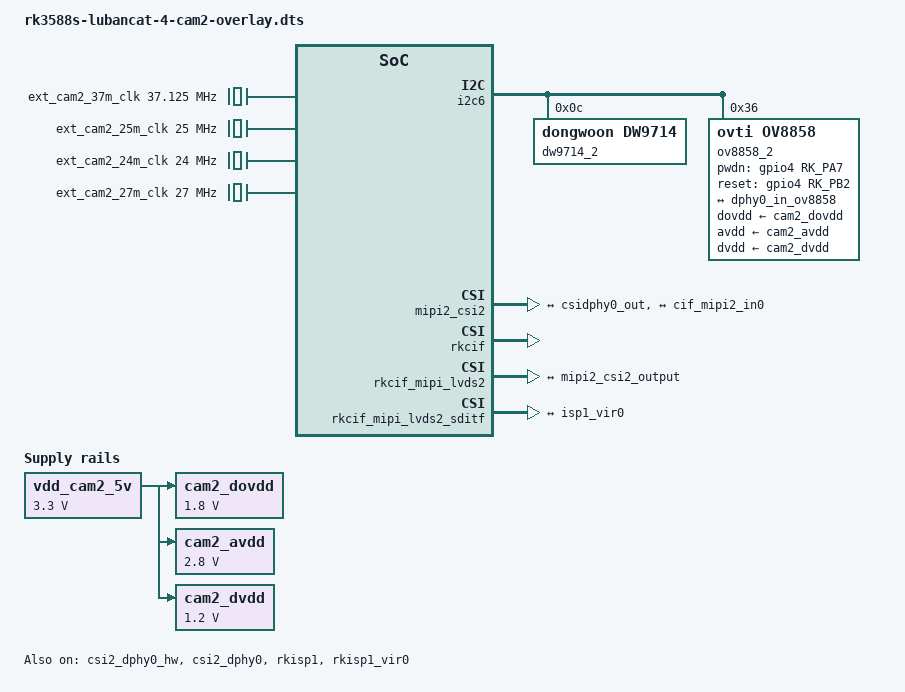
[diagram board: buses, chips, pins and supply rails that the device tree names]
/dts-v1/;
/plugin/;

#include <dt-bindings/usb/pd.h>
#include <dt-bindings/gpio/gpio.h>
#include <dt-bindings/pwm/pwm.h>
#include <dt-bindings/pinctrl/rockchip.h>
#include <dt-bindings/input/rk-input.h>
#include <dt-bindings/display/drm_mipi_dsi.h>
#include <dt-bindings/display/rockchip_vop.h>
#include <dt-bindings/sensor-dev.h>

/ {
	fragment@0 {
		target-path = "/";
		
		__overlay__ {
			ext_cam2_37m_clk: external-camera-37m-clock {
				compatible = "fixed-clock";
				clock-frequency = <37125000>;
				clock-output-names = "ext_cam2_37m_clk";
				#clock-cells = <0>;
			};

			ext_cam2_25m_clk: external-camera-25m-clock {
				compatible = "fixed-clock";
				clock-frequency = <25000000>;
				clock-output-names = "ext_cam2_25m_clk";
				#clock-cells = <0>;
			};

			ext_cam2_24m_clk: external-camera-24m-clock {
				compatible = "fixed-clock";
				#clock-cells = <0>;
				clock-frequency = <24000000>;
	        	clock-output-names = "ext_cam2_24m_clk";
			};

			ext_cam2_27m_clk: external-camera-27m-clock {
				compatible = "fixed-clock";
				#clock-cells = <0>;
				clock-frequency = <27000000>;
				clock-output-names = "ext_cam2_27m_clk";
			};

			vdd_cam2_5v: vdd-cam2-5v-regulator {
				compatible = "regulator-fixed";
				regulator-name = "vdd_cam2_5v";
				regulator-always-on;
				regulator-boot-on;
				regulator-min-microvolt = <3300000>;
				regulator-max-microvolt = <3300000>;
			};

			cam2_dovdd: cam2-dovdd {
				compatible = "regulator-fixed";
				regulator-name = "cam2_dovdd";
				regulator-always-on;
				regulator-boot-on;
				regulator-min-microvolt = <1800000>;
				regulator-max-microvolt = <1800000>;
				vin-supply = <&vdd_cam2_5v>;
			};

			cam2_avdd: cam2-avdd {
				compatible = "regulator-fixed";
				regulator-name = "cam2_avdd";
				regulator-always-on;
				regulator-boot-on;
				regulator-min-microvolt = <2800000>;
				regulator-max-microvolt = <2800000>;
				vin-supply = <&vdd_cam2_5v>;
			};

			cam2_dvdd: cam2-dvdd {
				compatible = "regulator-fixed";
				regulator-name = "cam2_dvdd";
				regulator-always-on;
				regulator-boot-on;
				regulator-min-microvolt = <1200000>;
				regulator-max-microvolt = <1200000>;
				vin-supply = <&vdd_cam2_5v>;
			};
		};
	};

	/* Link path: sensor->csi2_dphy0->mipi2_csi2->rkcif_mipi_lvds2--->rkcif_mipi_lvds2_sditf->rkisp0_vir2 */
	fragment@1 {
		target = <&i2c6>;	

		__overlay__ {
			status = "okay";
			pinctrl-names = "default";
			pinctrl-0 = <&i2c6m3_xfer>;
			#address-cells = <1>;
			#size-cells = <0>;
			
			dw9714_2: dw9714-2@c {
				status = "okay";
				compatible = "dongwoon,dw9714";
				reg = <0xc>;
				rockchip,camera-module-index = <0>;
				rockchip,vcm-max-current = <100>;
				rockchip,vcm-start-current = <0>;
				rockchip,vcm-rated-current = <100>;
				rockchip,vcm-step-mode = <0xd>;
				rockchip,vcm-dlc-enable = <0>;
				rockchip,vcm-mclk = <0>;	
				rockchip,vcm-t-src = <0>;
				rockchip,camera-module-facing = "back";
			};	

			ov5647_2: ov5647-2@36 {
				compatible = "ovti,ov5647";
				status = "disabled";
				reg = <0x36>;
				clocks = <&ext_cam2_25m_clk>;
				clock-names = "ext_cam_25m_clk";
				pwdn-gpios = <&gpio4 RK_PA7 GPIO_ACTIVE_LOW>;
				lens-focus = <&dw9714>;				
				port {
					ov5647_out: endpoint {
						remote-endpoint = <&dphy0_in_ov5647>;
						data-lanes = <1 2>;
					};
				};
			};

			ov5648_2: ov5648-2@36 {
				compatible = "ovti,ov5648";
				status = "disabled";
				reg = <0x36>;
				clocks = <&ext_cam2_24m_clk>;
				clock-names = "xvclk";
				dovdd-supply= <&cam2_dovdd>; /* 1.8v */
				avdd-supply = <&cam2_avdd>;  /* 2.8v */
				dvdd-supply = <&cam2_dvdd>;  /* 1.2v */
				pwdn-gpios = <&gpio4 RK_PA7 GPIO_ACTIVE_HIGH>;
				reset-gpios = <&gpio4 RK_PB2 GPIO_ACTIVE_LOW>;
				rotation = <180>;	

				rockchip,camera-module-index = <2>;
				rockchip,camera-module-facing = "back";
				rockchip,camera-module-name = "THDS11073";
				rockchip,camera-module-lens-name = "Largan-40122a1";
				lens-focus = <&dw9714>;				
				port {
					/* MIPI CSI-2 bus endpoint */
					ov5648_out: endpoint {
						remote-endpoint = <&dphy0_in_ov5648>;
						clock-lanes = <0>;
						data-lanes = <1 2>;
					};
				};
			};

			ov8858_2: ov8858-2@36 {
				compatible = "ovti,ov8858";
				status = "okay";
				reg = <0x36>;
				clocks = <&ext_cam2_24m_clk>;
				clock-names = "xvclk";
				dovdd-supply= <&cam2_dovdd>; /* 1.8v */
				avdd-supply = <&cam2_avdd>;  /* 2.8v */
				dvdd-supply = <&cam2_dvdd>;  /* 1.2v */
				pwdn-gpios = <&gpio4 RK_PA7 GPIO_ACTIVE_HIGH>;
				reset-gpios = <&gpio4 RK_PB2 GPIO_ACTIVE_HIGH>;
				rotation = <180>;

				rockchip,camera-module-index = <2>;
				rockchip,camera-module-facing = "back";
				rockchip,camera-module-name = "HS5885-BNSM1018-V01";
				rockchip,camera-module-lens-name = "default";
				lens-focus = <&dw9714>;				
				port {
					/* MIPI CSI-2 bus endpoint */
					ov8858_out: endpoint {
						remote-endpoint = <&dphy0_in_ov8858>;
						clock-lanes = <0>;
						data-lanes = <1 2>;
					};
				};
			};

			ov13850_2: ov13850-2@10 {
				compatible = "ovti,ov13850";
				status = "disabled";
				reg = <0x10>;
				clocks = <&ext_cam2_24m_clk>;
				clock-names = "xvclk";
				dovdd-supply= <&cam2_dovdd>; /* 1.8v */
				avdd-supply = <&cam2_avdd>;  /* 2.8v */
				dvdd-supply = <&cam2_dvdd>;  /* 1.2v */
				pwdn-gpios = <&gpio4 RK_PA7 GPIO_ACTIVE_HIGH>;
				reset-gpios = <&gpio4 RK_PB2 GPIO_ACTIVE_HIGH>;
				rotation = <180>;				
				rockchip,camera-module-index = <2>;
				rockchip,camera-module-facing = "back";
				rockchip,camera-module-name = "ZC-OV13850R2A-V1";
				rockchip,camera-module-lens-name = "Largan-50064B31";
				lens-focus = <&dw9714>;				
				port {
					/* MIPI CSI-2 bus endpoint */
					ov13850_out: endpoint {
						remote-endpoint = <&dphy0_in_ov13850>;
						clock-lanes = <0>;
						data-lanes = <1 2>;
					};
				};
			};

			imx415_2: imx415-2@1a {
				compatible = "sony,imx415";
				status = "disabled";
				reg = <0x1a>;
				clocks = <&ext_cam2_37m_clk>;
				clock-names = "xvclk";
				avdd-supply = <&cam2_avdd>;
				dovdd-supply = <&cam2_dovdd>;
				dvdd-supply = <&cam2_dvdd>;
				reset-gpios = <&gpio1 RK_PB2 GPIO_ACTIVE_LOW>;

				rockchip,camera-module-index = <2>;
				rockchip,camera-module-facing = "back";
				rockchip,camera-module-name = "CMK-OT2022-PX1";
				rockchip,camera-module-lens-name = "IR0147-50IRC-8M-F20";
				port {
					imx415_out2: endpoint {
						remote-endpoint = <&dphy0_in_imx415>;
						data-lanes = <1 2 3 4>;
					};
				};
			};
		};
	};

	fragment@2 {
		target = <&csi2_dphy0_hw>;	

		__overlay__ {
			status = "okay";
		};
	};

	fragment@3 {
		target = <&csi2_dphy0>;	

		__overlay__ {
			status = "okay";

			ports {
				#address-cells = <1>;
				#size-cells = <0>;			
				port@0 {
					reg = <0>;
					#address-cells = <1>;
					#size-cells = <0>;			
					dphy0_in_ov5648: endpoint@1 {
						reg = <1>;
						remote-endpoint = <&ov5648_out>;
						data-lanes = <1 2>;
					};			
					dphy0_in_ov8858: endpoint@2 {
						reg = <2>;
						remote-endpoint = <&ov8858_out>;
						data-lanes = <1 2>;
					};			
					dphy0_in_ov13850: endpoint@3 {
						reg = <3>;
						remote-endpoint = <&ov13850_out>;
						data-lanes = <1 2>;
					};			
					dphy0_in_ov5647: endpoint@4 {
						reg = <4>;
						remote-endpoint = <&ov5647_out>;
						data-lanes = <1 2>;
					};			
					dphy0_in_imx415: endpoint@5 {
						reg = <5>;
						remote-endpoint = <&imx415_out2>;
						data-lanes = <1 2 3 4>;
					};
				};			
				port@1 {
					reg = <1>;
					#address-cells = <1>;
					#size-cells = <0>;			
					csidphy0_out: endpoint@0 {
						reg = <0>;
						remote-endpoint = <&mipi2_csi2_input>;
					};
				};
			};
		};
	};

	fragment@4 {
		target = <&mipi2_csi2>;	

		__overlay__ {
			status = "okay";

			ports {
				#address-cells = <1>;
				#size-cells = <0>;			
				port@0 {
					reg = <0>;
					#address-cells = <1>;
					#size-cells = <0>;			
					mipi2_csi2_input: endpoint@1 {
						reg = <1>;
						remote-endpoint = <&csidphy0_out>;
					};
				};			
				port@1 {
					reg = <1>;
					#address-cells = <1>;
					#size-cells = <0>;			
					mipi2_csi2_output: endpoint@0 {
						reg = <0>;
						remote-endpoint = <&cif_mipi2_in0>;
					};
				};
			};
		};
	};

	fragment@5 {
		target = <&rkcif>;	

		__overlay__ {
			status = "okay";
		};
	};

	fragment@6 {
		target = <&rkcif_mipi_lvds2>;	

		__overlay__ {
			status = "okay";

			port {
				cif_mipi2_in0: endpoint {
					remote-endpoint = <&mipi2_csi2_output>;
				};
			};
		};
	};

	fragment@7 {
		target = <&rkcif_mipi_lvds2_sditf>;	

		__overlay__ {
			status = "okay";

			port {
				mipi_lvds2_sditf: endpoint {
					remote-endpoint = <&isp1_vir0>;
				};
			};
		};
	};

	fragment@8 {
		target = <&rkcif_mmu>;	

		__overlay__ {
			status = "okay";
		};
	};

	fragment@9 {
		target = <&rkisp1>;	

		__overlay__ {
			status = "okay";
		};
	};

	fragment@10 {
		target = <&isp1_mmu>;	

		__overlay__ {
			status = "okay";
		};
	};

	fragment@11 {
		target = <&rkisp1_vir0>;	

		__overlay__ {
			status = "okay";

			port {
				#address-cells = <1>;
				#size-cells = <0>;			
				isp1_vir0: endpoint@0 {
					reg = <0>;
					remote-endpoint = <&mipi_lvds2_sditf>;
				};
			};
		};
	};
};

